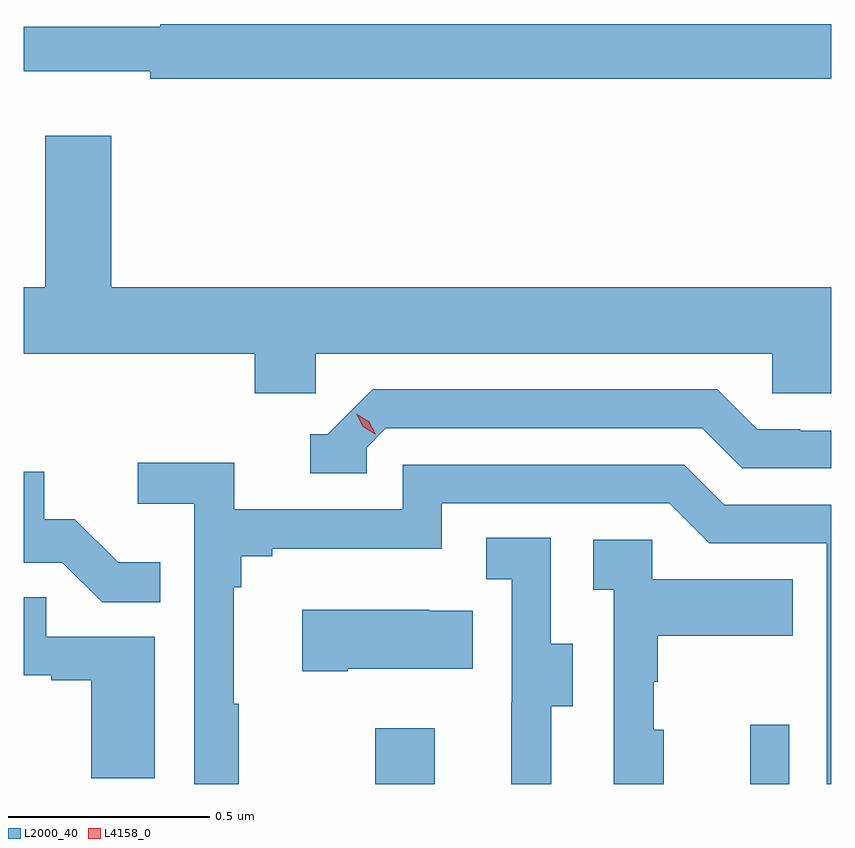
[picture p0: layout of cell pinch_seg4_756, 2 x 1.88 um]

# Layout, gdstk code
import gdstk
lib = gdstk.Library(unit=1e-6, precision=1e-09)
def R(c, l, rs):  # rectangles x0, y0, x1, y1
    for r in rs: c.add(gdstk.rectangle(r[:2], r[2:], *l))
def P(c, l, *ps):  # polygons
    for p in ps: c.add(gdstk.Polygon(p, *l))
L2000_40 = (2000, 40)
L4158_0 = (4158, 0)

pinch_seg4_756 = lib.new_cell('pinch_seg4_756')
R(pinch_seg4_756, L2000_40, [(885.106,830.386,885.253,830.524), (886.034,830.386,886.131,830.533)])
P(pinch_seg4_756, L2000_40, [(886.235,832.268),(884.573,832.268),(884.573,832.261),(884.235,832.261),(884.235,832.151),(884.548,832.151),(884.548,832.132),(886.235,832.132)],
  [(884.958,831.452),(886.089,831.452),(886.089,831.354),(886.235,831.354),(886.235,831.616),(884.452,831.616),(884.452,831.991),(884.288,831.991),(884.288,831.616),(884.235,831.616),(884.235,831.452),(884.807,831.452),(884.807,831.354),(884.958,831.354)],
  [(885.084,831.219),(885.132,831.267),(885.915,831.267),(886.014,831.168),(886.235,831.168),(886.235,831.261),(886.158,831.261),(886.158,831.264),(886.051,831.264),(885.952,831.363),(885.099,831.363),(884.988,831.252),(884.945,831.252),(884.945,831.156),(885.084,831.156)],
  [(884.767,830.585),(884.755,830.585),(884.755,830.873),(884.774,830.873),(884.774,830.95),(884.851,830.95),(884.851,830.969),(885.27,830.969),(885.27,831.081),(885.834,831.081),(885.933,830.982),(886.224,830.982),(886.224,830.386),(886.235,830.386),(886.235,831.078),(885.97,831.078),(885.871,831.177),(885.174,831.177),(885.174,831.066),(884.756,831.066),(884.756,831.182),(884.517,831.182),(884.517,831.08),(884.658,831.08),(884.658,830.386),(884.767,830.386)],
  [(884.573,830.935),(884.469,830.935),(884.362,831.042),(884.286,831.042),(884.286,831.159),(884.235,831.159),(884.235,830.934),(884.331,830.934),(884.429,830.836),(884.573,830.836)],
  [(885.541,830.578),(885.595,830.578),(885.595,830.733),(885.54,830.733),(885.54,830.996),(885.381,830.996),(885.381,830.893),(885.444,830.893),(885.444,830.589),(885.443,830.589),(885.443,830.386),(885.541,830.386)],
  [(885.82,830.52),(885.795,830.52),(885.795,830.639),(885.805,830.639),(885.805,830.753),(886.139,830.753),(886.139,830.893),(885.792,830.893),(885.792,830.991),(885.645,830.991),(885.645,830.867),(885.696,830.867),(885.696,830.386),(885.82,830.386)],
  [(884.56,830.751),(884.291,830.751),(884.291,830.849),(884.235,830.849),(884.235,830.655),(884.303,830.655),(884.303,830.643),(884.402,830.643),(884.402,830.4),(884.56,830.4)],
  [(885.037,830.672),(885.347,830.672),(885.347,830.815),(885.239,830.815),(885.239,830.818),(884.925,830.818),(884.925,830.665),(885.037,830.665)])
P(pinch_seg4_756, L4158_0, [(885.106,831.252),(885.075,831.271),(885.059,831.303),(885.059,831.303),(885.059,831.303),(885.09,831.284),(885.107,831.252),(885.107,831.252)])

lib.write_gds('pinch_seg4_756.gds')
